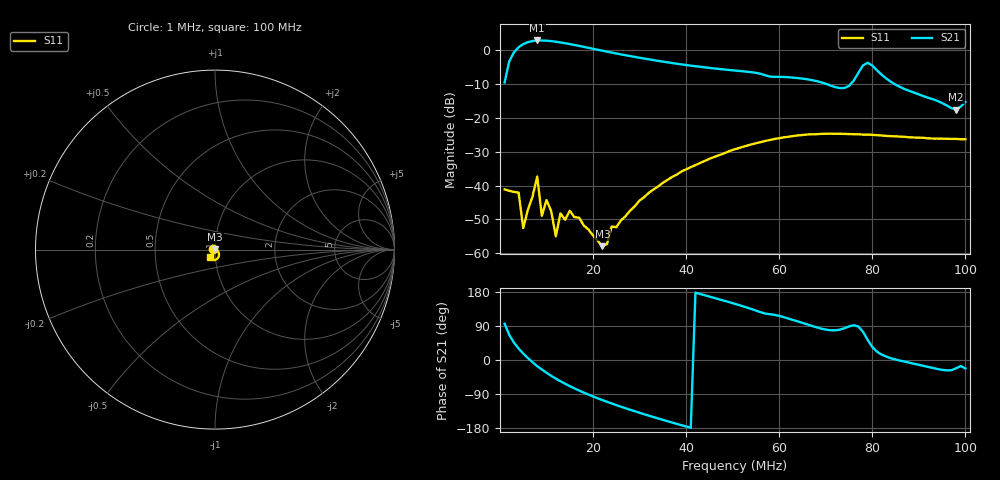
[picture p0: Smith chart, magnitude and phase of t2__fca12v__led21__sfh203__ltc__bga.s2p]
# HZ S RI R 50
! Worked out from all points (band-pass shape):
!   100 points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, 1 MHz to 100 MHz, reference 50 ohm
!   highest |S21| = 2.95 dB at 8 MHz (marker M1); lowest = -17.5 dB at 98 MHz (marker M2)
!   |S21| within 3 dB of the highest: 3.342 MHz to 21.91 MHz (18.57 MHz wide, 147 % of centre)
!   lowest |S11| = -57.9 dB at 22 MHz (marker M3), VSWR 1.00, Z = 50 + j0.128 ohm
!   |S11| at or under -10 dB: start of sweep to end of sweep
!   S12 and S22 are empty: the file has one direction only
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1000001  -0.00876 0.000963  -0.0347 0.3336  0 0  0 0
2000001  -0.00833 0.00115  0.2802 0.6291  0 0  0 0
4000001  -0.00775 0.00163  0.9603 0.5647  0 0  0 0
5000001  0.000732 -0.00225  1.185 0.3651  0 0  0 0
8000001  0.00238 0.0134  1.347 -0.3931  0 0  0 0
9000001  0.000128 -0.00358  1.269 -0.594  0 0  0 0
1e7  -0.00612 0.000364  1.159 -0.7692  0 0  0 0
1.2e7  -0.00167 0.000617  0.8795 -1.017  0 0  0 0
1.3e7  -0.00365 0.00138  0.7331 -1.087  0 0  0 0
1.8e7  -0.00187 0.00178  0.0788 -1.126  0 0  0 0
2.2e7  -2.48e-05 0.00128  -0.2694 -0.9536  0 0  0 0
2.4e7  0.00167 -0.00185  -0.3869 -0.8456  0 0  0 0
3.4e7  0.00931 -0.00289  -0.6309 -0.3035  0 0  0 0
5.1e7  0.0223 -0.0275  -0.4161 0.2774  0 0  0 0
6.7e7  -1.7e-05 -0.0575  4.46e-05 0.3639  0 0  0 0
7.4e7  -0.0146 -0.0564  0.0301 0.2765  0 0  0 0
7.7e7  -0.019 -0.0543  0.0131 0.4651  0 0  0 0
7.8e7  -0.0205 -0.0532  0.1612 0.5778  0 0  0 0
8e7  -0.0226 -0.0517  0.493 0.3358  0 0  0 0
8.4e7  -0.0247 -0.048  0.3418 0.027  0 0  0 0
9.8e7  -0.0272 -0.0409  0.1236 -0.0496  0 0  0 0
1e8  -0.0271 -0.0404  0.1605 -0.0661  0 0  0 0
